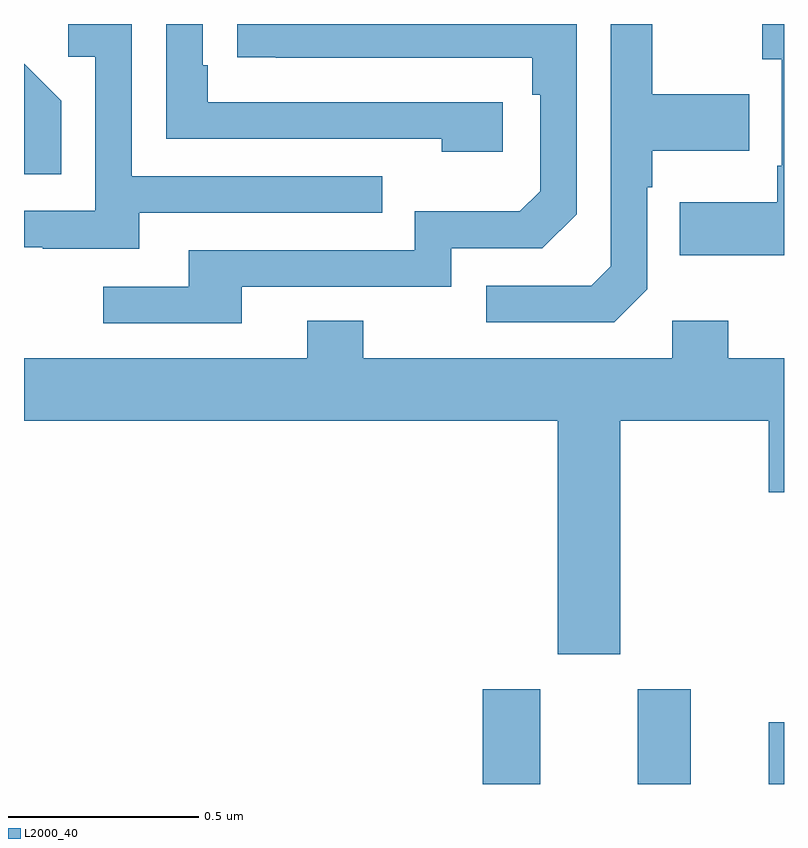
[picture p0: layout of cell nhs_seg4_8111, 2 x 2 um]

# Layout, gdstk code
import gdstk
lib = gdstk.Library(unit=1e-6, precision=1e-09)
def R(c, l, rs):  # rectangles x0, y0, x1, y1
    for r in rs: c.add(gdstk.rectangle(r[:2], r[2:], *l))
def P(c, l, *ps):  # polygons
    for p in ps: c.add(gdstk.Polygon(p, *l))
L2000_40 = (2000, 40)

nhs_seg4_8111 = lib.new_cell('nhs_seg4_8111')
R(nhs_seg4_8111, L2000_40, [(212.207,759.9,212.359,760.15), (212.615,759.9,212.755,760.15), (212.96,759.9,213,760.063)])
P(nhs_seg4_8111, L2000_40, [(212.26,761.694),(211.483,761.694),(211.483,761.791),(211.47,761.791),(211.47,761.9),(211.374,761.9),(211.374,761.598),(212.099,761.598),(212.099,761.564),(212.26,761.564)],
  [(212.64,761.202),(212.64,761.471),(212.653,761.471),(212.653,761.567),(212.909,761.567),(212.909,761.715),(212.653,761.715),(212.653,761.9),(212.544,761.9),(212.544,761.262),(212.493,761.211),(212.217,761.211),(212.217,761.115),(212.553,761.115)],
  [(211.303,761.403),(211.943,761.403),(211.943,761.499),(211.284,761.499),(211.284,761.9),(211.116,761.9),(211.116,761.814),(211.188,761.814),(211.188,761.409),(211,761.409),(211,761.313),(211.049,761.313),(211.049,761.309),(211.303,761.309)],
  [(213,761.9),(212.943,761.9),(212.943,761.807),(212.994,761.807),(212.994,761.527),(212.982,761.527),(212.982,761.431),(212.725,761.431),(212.725,761.291),(213,761.291)],
  [(211.573,761.208),(212.124,761.208),(212.124,761.31),(212.364,761.31),(212.454,761.4),(212.454,761.9),(211.561,761.9),(211.561,761.812),(211.663,761.812),(211.663,761.811),(212.338,761.811),(212.338,761.714),(212.358,761.714),(212.358,761.46),(212.305,761.407),(212.028,761.407),(212.028,761.304),(211.433,761.304),(211.433,761.208),(211.209,761.208),(211.209,761.112),(211.573,761.112)],
  [(211.098,761.698),(211,761.796),(211,761.662),(211.001,761.661),(211.001,761.505),(211.098,761.505)],
  [(212.569,760.856),(212.96,760.856),(212.96,760.668),(213,760.668),(213,761.02),(212.853,761.02),(212.853,761.119),(212.706,761.119),(212.706,761.02),(211.893,761.02),(211.893,761.119),(211.745,761.119),(211.745,761.02),(211,761.02),(211,760.856),(212.405,760.856),(212.405,760.242),(212.569,760.242)])

lib.write_gds('nhs_seg4_8111.gds')
